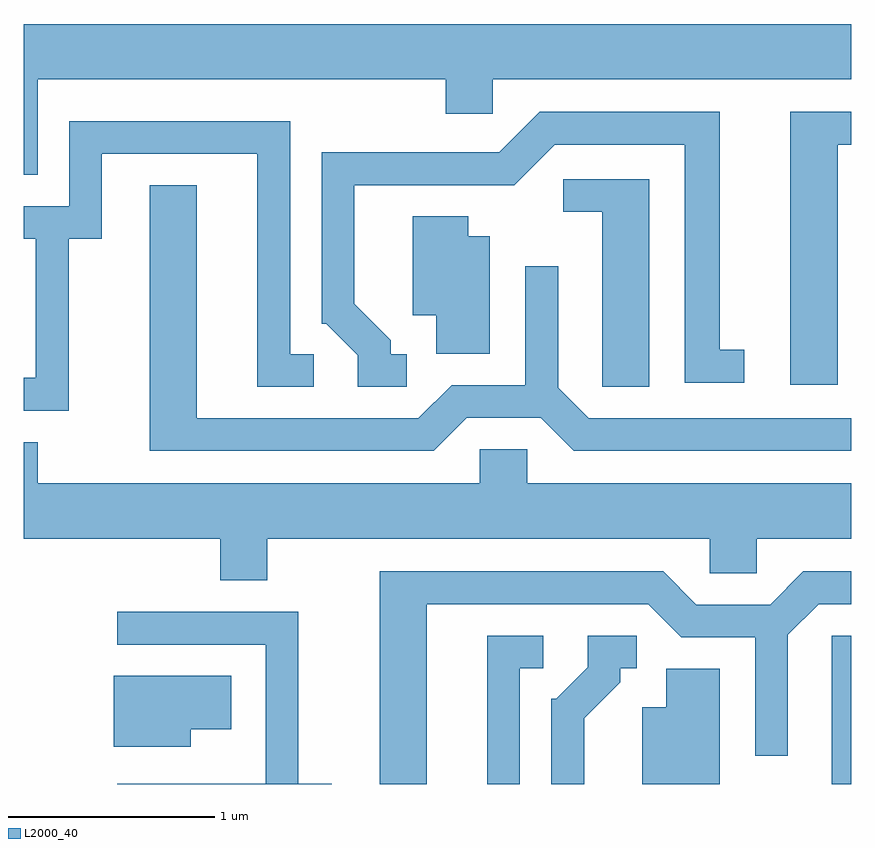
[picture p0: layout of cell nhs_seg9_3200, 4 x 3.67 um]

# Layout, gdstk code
import gdstk
lib = gdstk.Library(unit=1e-6, precision=1e-09)
def R(c, l, rs):  # rectangles x0, y0, x1, y1
    for r in rs: c.add(gdstk.rectangle(r[:2], r[2:], *l))
def P(c, l, *ps):  # polygons
    for p in ps: c.add(gdstk.Polygon(p, *l))
L2000_40 = (2000, 40)

nhs_seg9_3200 = lib.new_cell('nhs_seg9_3200')
R(nhs_seg9_3200, L2000_40, [(283.516,1968.432,283.611,1969.149)])
P(nhs_seg9_3200, L2000_40, [(279.679,1971.836),(281.651,1971.836),(281.651,1971.671),(281.879,1971.671),(281.879,1971.836),(283.611,1971.836),(283.611,1972.104),(279.611,1972.104),(279.611,1971.376),(279.679,1971.376)],
  [(281.463,1970.509),(281.384,1970.509),(281.384,1970.577),(281.209,1970.752),(281.209,1971.326),(281.982,1971.326),(282.177,1971.521),(282.806,1971.521),(282.806,1970.371),(283.093,1970.371),(283.093,1970.529),(282.974,1970.529),(282.974,1971.679),(282.104,1971.679),(281.909,1971.484),(281.051,1971.484),(281.051,1970.656),(281.074,1970.656),(281.226,1970.504),(281.226,1970.351),(281.463,1970.351)],
  [(283.544,1971.521),(283.611,1971.521),(283.611,1971.679),(283.316,1971.679),(283.316,1970.361),(283.544,1970.361)],
  [(279.829,1971.066),(279.989,1971.066),(279.989,1971.476),(280.741,1971.476),(280.741,1970.351),(281.013,1970.351),(281.013,1970.509),(280.899,1970.509),(280.899,1971.634),(279.831,1971.634),(279.831,1971.224),(279.611,1971.224),(279.611,1971.066),(279.671,1971.066),(279.671,1970.394),(279.611,1970.394),(279.611,1970.236),(279.829,1970.236)],
  [(282.634,1971.354),(282.218,1971.354),(282.218,1971.196),(282.406,1971.196),(282.406,1970.351),(282.634,1970.351)],
  [(281.752,1970.201),(282.109,1970.201),(282.269,1970.041),(283.611,1970.041),(283.611,1970.199),(282.342,1970.199),(282.194,1970.347),(282.194,1970.933),(282.036,1970.933),(282.036,1970.359),(281.679,1970.359),(281.519,1970.199),(280.449,1970.199),(280.449,1971.324),(280.221,1971.324),(280.221,1970.041),(281.592,1970.041)],
  [(281.864,1971.079),(281.759,1971.079),(281.759,1971.174),(281.491,1971.174),(281.491,1970.696),(281.606,1970.696),(281.606,1970.511),(281.864,1970.511)],
  [(280.789,1969.616),(282.926,1969.616),(282.926,1969.451),(283.154,1969.451),(283.154,1969.616),(283.611,1969.616),(283.611,1969.884),(282.044,1969.884),(282.044,1970.049),(281.816,1970.049),(281.816,1969.884),(279.679,1969.884),(279.679,1970.084),(279.611,1970.084),(279.611,1969.616),(280.561,1969.616),(280.561,1969.416),(280.789,1969.416)],
  [(281.559,1969.301),(282.629,1969.301),(282.789,1969.141),(283.146,1969.141),(283.146,1968.568),(283.304,1968.568),(283.304,1969.154),(283.452,1969.301),(283.611,1969.301),(283.611,1969.459),(283.379,1969.459),(283.219,1969.299),(282.862,1969.299),(282.702,1969.459),(281.331,1969.459),(281.331,1968.432),(281.559,1968.432)],
  [(281.099,1968.434),(280.939,1968.434),(280.939,1969.264),(280.063,1969.264),(280.063,1969.106),(280.781,1969.106),(280.781,1968.434),(280.063,1968.434),(280.063,1968.432),(281.099,1968.432)],
  [(282.009,1968.991),(282.123,1968.991),(282.123,1969.149),(281.851,1969.149),(281.851,1968.432),(282.009,1968.432)],
  [(282.319,1968.749),(282.494,1968.924),(282.494,1968.991),(282.573,1968.991),(282.573,1969.149),(282.336,1969.149),(282.336,1968.997),(282.184,1968.844),(282.161,1968.844),(282.161,1968.432),(282.319,1968.432)],
  [(282.974,1968.989),(282.716,1968.989),(282.716,1968.804),(282.601,1968.804),(282.601,1968.432),(282.974,1968.432)],
  [(280.419,1968.696),(280.614,1968.696),(280.614,1968.954),(280.046,1968.954),(280.046,1968.611),(280.419,1968.611)])

lib.write_gds('nhs_seg9_3200.gds')
